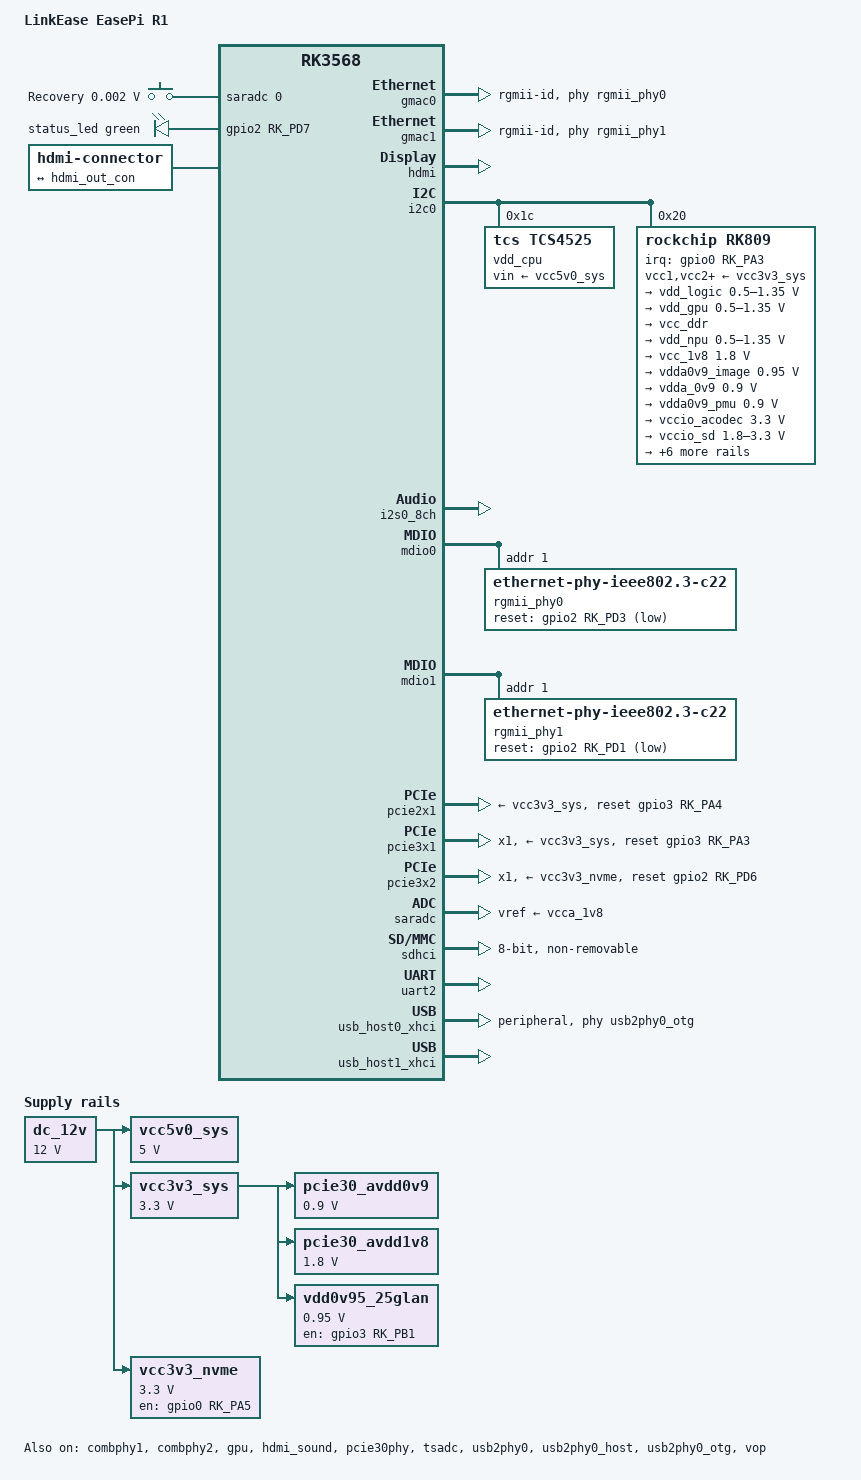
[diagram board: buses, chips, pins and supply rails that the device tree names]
// SPDX-License-Identifier: GPL-2.0-or-later OR MIT

/dts-v1/;

#include <dt-bindings/gpio/gpio.h>
#include <dt-bindings/input/input.h>
#include <dt-bindings/leds/common.h>
#include <dt-bindings/pinctrl/rockchip.h>
#include <dt-bindings/soc/rockchip,vop2.h>
#include "rk3568.dtsi"

/ {
	model = "LinkEase EasePi R1";
	compatible = "linkease,easepi-r1", "rockchip,rk3568";

	aliases {
		ethernet0 = &gmac0;
		ethernet1 = &gmac1;
		mmc0 = &sdhci;
	};

	chosen: chosen {
		stdout-path = "serial2:1500000n8";
	};

	adc-keys {
		compatible = "adc-keys";
		io-channels = <&saradc 0>;
		io-channel-names = "buttons";
		keyup-threshold-microvolt = <1800000>;

		button-recovery {
			label = "Recovery";
			linux,code = <KEY_VENDOR>;
			press-threshold-microvolt = <1750>;
		};
	};

	gpio-leds {
		compatible = "gpio-leds";
		pinctrl-names = "default";
		pinctrl-0 = <&status_led_pin>;

		status_led: led-status {
			color = <LED_COLOR_ID_GREEN>;
			function = LED_FUNCTION_STATUS;
			gpios = <&gpio2 RK_PD7 GPIO_ACTIVE_HIGH>;
			linux,default-trigger = "heartbeat";
		};
	};

	hdmi-con {
		compatible = "hdmi-connector";
		type = "a";

		port {
			hdmi_con_in: endpoint {
				remote-endpoint = <&hdmi_out_con>;
			};
		};
	};

	dc_12v: regulator-dc-12v {
		compatible = "regulator-fixed";
		regulator-name = "dc_12v";
		regulator-always-on;
		regulator-boot-on;
		regulator-min-microvolt = <12000000>;
		regulator-max-microvolt = <12000000>;
	};

	vcc5v0_sys: regulator-vcc5v0-sys {
		compatible = "regulator-fixed";
		regulator-name = "vcc5v0_sys";
		regulator-always-on;
		regulator-boot-on;
		regulator-min-microvolt = <5000000>;
		regulator-max-microvolt = <5000000>;
		vin-supply = <&dc_12v>;
	};

	vcc3v3_sys: regulator-vcc3v3-sys {
		compatible = "regulator-fixed";
		regulator-name = "vcc3v3_sys";
		regulator-always-on;
		regulator-boot-on;
		regulator-min-microvolt = <3300000>;
		regulator-max-microvolt = <3300000>;
		vin-supply = <&dc_12v>;
	};

	pcie30_avdd0v9: regulator-pcie30-avdd0v9 {
		compatible = "regulator-fixed";
		regulator-name = "pcie30_avdd0v9";
		regulator-always-on;
		regulator-boot-on;
		regulator-min-microvolt = <900000>;
		regulator-max-microvolt = <900000>;
		vin-supply = <&vcc3v3_sys>;
	};

	pcie30_avdd1v8: regulator-pcie30-avdd1v8 {
		compatible = "regulator-fixed";
		regulator-name = "pcie30_avdd1v8";
		regulator-always-on;
		regulator-boot-on;
		regulator-min-microvolt = <1800000>;
		regulator-max-microvolt = <1800000>;
		vin-supply = <&vcc3v3_sys>;
	};

	regulator-vdd0v95-25glan {
		compatible = "regulator-fixed";
		enable-active-high;
		gpio = <&gpio3 RK_PB1 GPIO_ACTIVE_HIGH>;
		pinctrl-names = "default";
		pinctrl-0 = <&vdd0v95_25glan_en>;
		regulator-name = "vdd0v95_25glan";
		regulator-always-on;
		regulator-boot-on;
		regulator-min-microvolt = <950000>;
		regulator-max-microvolt = <950000>;
		vin-supply = <&vcc3v3_sys>;
	};

	vcc3v3_nvme: regulator-vcc3v3-nvme {
		compatible = "regulator-fixed";
		enable-active-high;
		gpio = <&gpio0 RK_PA5 GPIO_ACTIVE_HIGH>;
		pinctrl-names = "default";
		pinctrl-0 = <&vcc3v3_nvme_en>;
		regulator-name = "vcc3v3_nvme";
		regulator-min-microvolt = <3300000>;
		regulator-max-microvolt = <3300000>;
		vin-supply = <&dc_12v>;
	};

};

&combphy1 {
	status = "okay";
};

&combphy2 {
	status = "okay";
};

&cpu0 {
	cpu-supply = <&vdd_cpu>;
};

&cpu1 {
	cpu-supply = <&vdd_cpu>;
};

&cpu2 {
	cpu-supply = <&vdd_cpu>;
};

&cpu3 {
	cpu-supply = <&vdd_cpu>;
};

&gmac0 {
	assigned-clocks = <&cru SCLK_GMAC0_RX_TX>, <&cru SCLK_GMAC0>;
	assigned-clock-parents = <&cru SCLK_GMAC0_RGMII_SPEED>;
	assigned-clock-rates = <0>, <125000000>;
	phy-handle = <&rgmii_phy0>;
	phy-mode = "rgmii-id";
	pinctrl-names = "default";
	pinctrl-0 = <&gmac0_miim
		     &gmac0_tx_bus2
		     &gmac0_rx_bus2
		     &gmac0_rgmii_clk
		     &gmac0_rgmii_bus>;
	status = "okay";
};

&gmac1 {
	assigned-clocks = <&cru SCLK_GMAC1_RX_TX>, <&cru SCLK_GMAC1>;
	assigned-clock-parents = <&cru SCLK_GMAC1_RGMII_SPEED>;
	assigned-clock-rates = <0>, <125000000>;
	phy-handle = <&rgmii_phy1>;
	phy-mode = "rgmii-id";
	pinctrl-names = "default";
	pinctrl-0 = <&gmac1m1_miim
		     &gmac1m1_tx_bus2
		     &gmac1m1_rx_bus2
		     &gmac1m1_rgmii_clk
		     &gmac1m1_rgmii_bus>;
	status = "okay";
};

&gpu {
	mali-supply = <&vdd_gpu>;
	status = "okay";
};

&hdmi {
	avdd-0v9-supply = <&vdda0v9_image>;
	avdd-1v8-supply = <&vcca1v8_image>;
	status = "okay";
};

&hdmi_in {
	hdmi_in_vp0: endpoint {
		remote-endpoint = <&vp0_out_hdmi>;
	};
};

&hdmi_out {
	hdmi_out_con: endpoint {
		remote-endpoint = <&hdmi_con_in>;
	};
};

&hdmi_sound {
	status = "okay";
};

&i2c0 {
	status = "okay";

	vdd_cpu: regulator@1c {
		compatible = "tcs,tcs4525";
		reg = <0x1c>;
		fcs,suspend-voltage-selector = <1>;
		regulator-name = "vdd_cpu";
		regulator-always-on;
		regulator-boot-on;
		regulator-min-microvolt = <800000>;
		regulator-max-microvolt = <1150000>;
		regulator-ramp-delay = <2300>;
		vin-supply = <&vcc5v0_sys>;

		regulator-state-mem {
			regulator-off-in-suspend;
		};
	};

	rk809: pmic@20 {
		compatible = "rockchip,rk809";
		reg = <0x20>;
		interrupt-parent = <&gpio0>;
		interrupts = <RK_PA3 IRQ_TYPE_LEVEL_LOW>;
		#clock-cells = <1>;
		pinctrl-names = "default";
		pinctrl-0 = <&pmic_int>;
		system-power-controller;
		vcc1-supply = <&vcc3v3_sys>;
		vcc2-supply = <&vcc3v3_sys>;
		vcc3-supply = <&vcc3v3_sys>;
		vcc4-supply = <&vcc3v3_sys>;
		vcc5-supply = <&vcc3v3_sys>;
		vcc6-supply = <&vcc3v3_sys>;
		vcc7-supply = <&vcc3v3_sys>;
		vcc8-supply = <&vcc3v3_sys>;
		vcc9-supply = <&vcc3v3_sys>;
		wakeup-source;

		regulators {
			vdd_logic: DCDC_REG1 {
				regulator-name = "vdd_logic";
				regulator-always-on;
				regulator-boot-on;
				regulator-initial-mode = <0x2>;
				regulator-min-microvolt = <500000>;
				regulator-max-microvolt = <1350000>;
				regulator-ramp-delay = <6001>;

				regulator-state-mem {
					regulator-off-in-suspend;
				};
			};

			vdd_gpu: DCDC_REG2 {
				regulator-name = "vdd_gpu";
				regulator-always-on;
				regulator-initial-mode = <0x2>;
				regulator-min-microvolt = <500000>;
				regulator-max-microvolt = <1350000>;
				regulator-ramp-delay = <6001>;

				regulator-state-mem {
					regulator-off-in-suspend;
				};
			};

			vcc_ddr: DCDC_REG3 {
				regulator-name = "vcc_ddr";
				regulator-always-on;
				regulator-boot-on;
				regulator-initial-mode = <0x2>;

				regulator-state-mem {
					regulator-on-in-suspend;
				};
			};

			vdd_npu: DCDC_REG4 {
				regulator-name = "vdd_npu";
				regulator-initial-mode = <0x2>;
				regulator-min-microvolt = <500000>;
				regulator-max-microvolt = <1350000>;
				regulator-ramp-delay = <6001>;

				regulator-state-mem {
					regulator-off-in-suspend;
				};
			};

			vcc_1v8: DCDC_REG5 {
				regulator-name = "vcc_1v8";
				regulator-always-on;
				regulator-boot-on;
				regulator-min-microvolt = <1800000>;
				regulator-max-microvolt = <1800000>;

				regulator-state-mem {
					regulator-off-in-suspend;
				};
			};

			vdda0v9_image: LDO_REG1 {
				regulator-name = "vdda0v9_image";
				regulator-min-microvolt = <950000>;
				regulator-max-microvolt = <950000>;

				regulator-state-mem {
					regulator-off-in-suspend;
				};
			};

			vdda_0v9: LDO_REG2 {
				regulator-name = "vdda_0v9";
				regulator-always-on;
				regulator-boot-on;
				regulator-min-microvolt = <900000>;
				regulator-max-microvolt = <900000>;

				regulator-state-mem {
					regulator-off-in-suspend;
				};
			};

			vdda0v9_pmu: LDO_REG3 {
				regulator-name = "vdda0v9_pmu";
				regulator-always-on;
				regulator-boot-on;
				regulator-min-microvolt = <900000>;
				regulator-max-microvolt = <900000>;

				regulator-state-mem {
					regulator-on-in-suspend;
					regulator-suspend-microvolt = <900000>;
				};
			};

			vccio_acodec: LDO_REG4 {
				regulator-name = "vccio_acodec";
				regulator-min-microvolt = <3300000>;
				regulator-max-microvolt = <3300000>;

				regulator-state-mem {
					regulator-off-in-suspend;
				};
			};

			vccio_sd: LDO_REG5 {
				regulator-name = "vccio_sd";
				regulator-min-microvolt = <1800000>;
				regulator-max-microvolt = <3300000>;

				regulator-state-mem {
					regulator-off-in-suspend;
				};
			};

			vcc3v3_pmu: LDO_REG6 {
				regulator-name = "vcc3v3_pmu";
				regulator-always-on;
				regulator-boot-on;
				regulator-min-microvolt = <3300000>;
				regulator-max-microvolt = <3300000>;

				regulator-state-mem {
					regulator-on-in-suspend;
					regulator-suspend-microvolt = <3300000>;
				};
			};

			vcca_1v8: LDO_REG7 {
				regulator-name = "vcca_1v8";
				regulator-always-on;
				regulator-boot-on;
				regulator-min-microvolt = <1800000>;
				regulator-max-microvolt = <1800000>;

				regulator-state-mem {
					regulator-off-in-suspend;
				};
			};

			vcca1v8_pmu: LDO_REG8 {
				regulator-name = "vcca1v8_pmu";
				regulator-always-on;
				regulator-boot-on;
				regulator-min-microvolt = <1800000>;
				regulator-max-microvolt = <1800000>;

				regulator-state-mem {
					regulator-on-in-suspend;
					regulator-suspend-microvolt = <1800000>;
				};
			};

			vcca1v8_image: LDO_REG9 {
				regulator-name = "vcca1v8_image";
				regulator-min-microvolt = <1800000>;
				regulator-max-microvolt = <1800000>;

				regulator-state-mem {
					regulator-off-in-suspend;
				};
			};

			vcc_3v3: SWITCH_REG1 {
				regulator-name = "vcc_3v3";
				regulator-always-on;
				regulator-boot-on;

				regulator-state-mem {
					regulator-off-in-suspend;
				};
			};

			vcc3v3_sd: SWITCH_REG2 {
				regulator-name = "vcc3v3_sd";
				regulator-always-on;
				regulator-boot-on;

				regulator-state-mem {
					regulator-off-in-suspend;
				};
			};
		};
	};
};

&i2s0_8ch {
	status = "okay";
};

&mdio0 {
	rgmii_phy0: ethernet-phy@1 {
		compatible = "ethernet-phy-ieee802.3-c22";
		reg = <0x1>;
		pinctrl-0 = <&eth_phy0_reset_pin>;
		pinctrl-names = "default";
		reset-assert-us = <20000>;
		reset-deassert-us = <100000>;
		reset-gpios = <&gpio2 RK_PD3 GPIO_ACTIVE_LOW>;
	};
};

&mdio1 {
	rgmii_phy1: ethernet-phy@1 {
		compatible = "ethernet-phy-ieee802.3-c22";
		reg = <0x1>;
		pinctrl-0 = <&eth_phy1_reset_pin>;
		pinctrl-names = "default";
		reset-assert-us = <20000>;
		reset-deassert-us = <100000>;
		reset-gpios = <&gpio2 RK_PD1 GPIO_ACTIVE_LOW>;
	};
};

/* ETH3 */
&pcie2x1 {
	reset-gpios = <&gpio3 RK_PA4 GPIO_ACTIVE_HIGH>;
	vpcie3v3-supply = <&vcc3v3_sys>;
	status = "okay";
};

&pcie30phy {
	data-lanes = <1 2>;
	status = "okay";
};

/* ETH2 */
&pcie3x1 {
	num-lanes = <1>;
	reset-gpios = <&gpio3 RK_PA3 GPIO_ACTIVE_HIGH>;
	vpcie3v3-supply = <&vcc3v3_sys>;
	status = "okay";
};

/* M.2 Key for 2280 NVMe */
&pcie3x2 {
	num-lanes = <1>;
	reset-gpios = <&gpio2 RK_PD6 GPIO_ACTIVE_HIGH>;
	vpcie3v3-supply = <&vcc3v3_nvme>;
	status = "okay";
};

&pinctrl {
	gmac0 {
		eth_phy0_reset_pin: eth-phy0-reset-pin {
			rockchip,pins = <2 RK_PD3 RK_FUNC_GPIO &pcfg_pull_up>;
		};
	};

	gmac1 {
		eth_phy1_reset_pin: eth-phy1-reset-pin {
			rockchip,pins = <2 RK_PD1 RK_FUNC_GPIO &pcfg_pull_up>;
		};
	};

	gpio-leds {
		status_led_pin: status-led-pin {
			rockchip,pins = <2 RK_PD7 RK_FUNC_GPIO &pcfg_pull_none>;
		};
	};

	nvme {
		vcc3v3_nvme_en: vcc3v3-nvme-en {
			rockchip,pins = <0 RK_PA5 RK_FUNC_GPIO &pcfg_pull_none>;
		};
	};

	pcie-nic {
		vdd0v95_25glan_en: vdd0v95-25glan-en {
			rockchip,pins = <3 RK_PB1 RK_FUNC_GPIO &pcfg_pull_none>;
		};
	};

	pmic {
		pmic_int: pmic-int {
			rockchip,pins = <0 RK_PA3 RK_FUNC_GPIO &pcfg_pull_up>;
		};
	};

};

&pmu_io_domains {
	pmuio1-supply = <&vcc3v3_pmu>;
	pmuio2-supply = <&vcc3v3_pmu>;
	vccio1-supply = <&vccio_acodec>;
	vccio3-supply = <&vccio_sd>;
	vccio4-supply = <&vcc_1v8>;
	vccio5-supply = <&vcc_3v3>;
	vccio6-supply = <&vcc_1v8>;
	vccio7-supply = <&vcc_3v3>;
	status = "okay";
};

&saradc {
	vref-supply = <&vcca_1v8>;
	status = "okay";
};

&sdhci {
	bus-width = <8>;
	max-frequency = <200000000>;
	non-removable;
	pinctrl-names = "default";
	pinctrl-0 = <&emmc_bus8 &emmc_clk &emmc_cmd &emmc_datastrobe>;
	status = "okay";
};

&tsadc {
	rockchip,hw-tshut-mode = <1>;
	rockchip,hw-tshut-polarity = <0>;
	status = "okay";
};

&uart2 {
	status = "okay";
};

/* OTG Only USB2.0, Only device mode */
&usb_host0_xhci {
	dr_mode = "peripheral";
	extcon = <&usb2phy0>;
	maximum-speed = "high-speed";
	phys = <&usb2phy0_otg>;
	phy-names = "usb2-phy";
	status = "okay";
};

&usb_host1_xhci {
	status = "okay";
};

&usb2phy0 {
	status = "okay";
};

&usb2phy0_host {
	phy-supply = <&vcc5v0_sys>;
	status = "okay";
};

&usb2phy0_otg {
	status = "okay";
};

&vop {
	assigned-clocks = <&cru DCLK_VOP0>, <&cru DCLK_VOP1>;
	assigned-clock-parents = <&pmucru PLL_HPLL>, <&cru PLL_VPLL>;
	status = "okay";
};

&vop_mmu {
	status = "okay";
};

&vp0 {
	vp0_out_hdmi: endpoint@ROCKCHIP_VOP2_EP_HDMI0 {
		reg = <ROCKCHIP_VOP2_EP_HDMI0>;
		remote-endpoint = <&hdmi_in_vp0>;
	};
};
